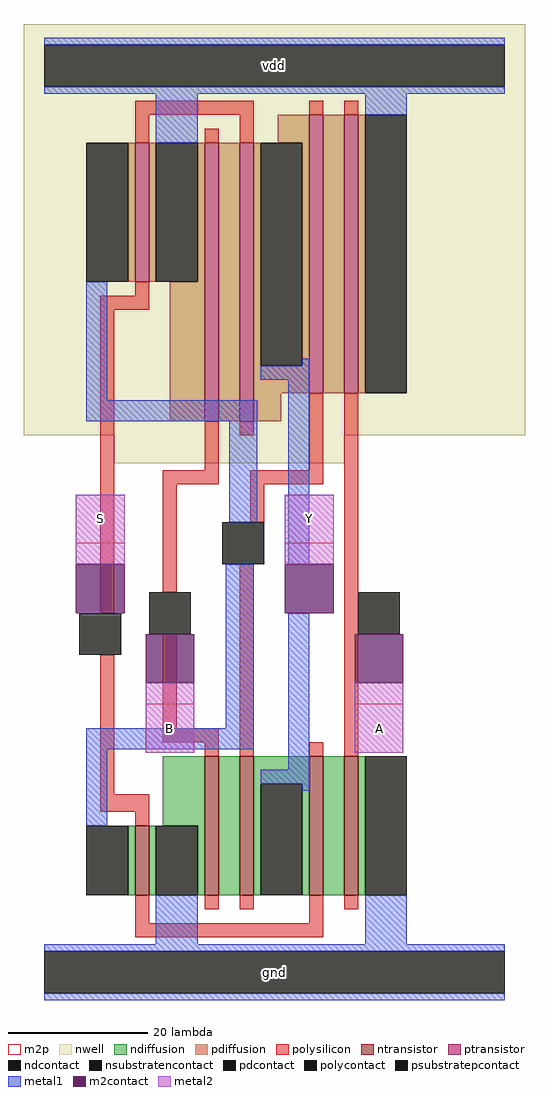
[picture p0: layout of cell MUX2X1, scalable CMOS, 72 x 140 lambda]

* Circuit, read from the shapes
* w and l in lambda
.subckt MUX2X1 A B S Y vdd gnd
M1 gnd S n1 gnd nfet w=10 l=2
M2 n2 B gnd gnd nfet w=20 l=2
M3 Y n1 n2 gnd nfet w=20 l=2
M4 n3 S Y gnd nfet w=20 l=2
M5 gnd A n3 gnd nfet w=20 l=2
M6 vdd S n1 vdd pfet w=20 l=2
M7 n4 B vdd vdd pfet w=40 l=2
M8 Y S n4 vdd pfet w=40 l=2
M9 n5 n1 Y vdd pfet w=40 l=2
M10 vdd A n5 vdd pfet w=40 l=2
.ends

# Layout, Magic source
magic
tech scmos
magscale 1 2
<< nwell >>
rect -12 154 132 272
rect 14 146 80 154
<< ntransistor >>
rect 20 22 24 42
rect 40 22 44 62
rect 50 22 54 62
rect 70 22 74 62
rect 80 22 84 62
<< ptransistor >>
rect 20 198 24 238
rect 40 158 44 238
rect 50 158 54 238
rect 70 166 74 246
rect 80 166 84 246
<< ndiffusion >>
rect 28 42 40 62
rect 18 22 20 42
rect 24 22 26 42
rect 38 22 40 42
rect 44 22 50 62
rect 54 54 70 62
rect 54 22 56 54
rect 68 22 70 54
rect 74 22 80 62
rect 84 22 86 62
<< pdiffusion >>
rect 61 238 70 246
rect 18 198 20 238
rect 24 198 26 238
rect 38 198 40 238
rect 30 158 40 198
rect 44 158 50 238
rect 54 174 56 238
rect 68 174 70 238
rect 54 166 70 174
rect 74 166 80 246
rect 84 166 86 246
rect 54 158 62 166
<< ndcontact >>
rect 6 22 18 42
rect 26 22 38 42
rect 56 22 68 54
rect 86 22 98 62
<< pdcontact >>
rect 6 198 18 238
rect 26 198 38 238
rect 56 174 68 238
rect 86 166 98 246
<< psubstratepcontact >>
rect -6 -6 126 6
<< nsubstratencontact >>
rect -6 254 126 266
<< polysilicon >>
rect 20 246 54 250
rect 70 246 74 250
rect 80 246 84 250
rect 20 238 24 246
rect 40 238 44 242
rect 50 238 54 246
rect 20 194 24 198
rect 10 190 24 194
rect 10 103 14 190
rect 40 144 44 158
rect 50 154 54 158
rect 70 144 74 166
rect 28 140 44 144
rect 53 140 74 144
rect 28 109 32 140
rect 53 129 57 140
rect 10 51 14 91
rect 28 70 32 97
rect 28 66 44 70
rect 40 62 44 66
rect 50 62 54 117
rect 70 62 74 66
rect 80 62 84 166
rect 10 46 24 51
rect 20 42 24 46
rect 20 14 24 22
rect 40 18 44 22
rect 50 18 54 22
rect 70 14 74 22
rect 80 18 84 22
rect 20 10 74 14
<< polycontact >>
rect 45 117 57 129
rect 4 91 16 103
rect 24 97 36 109
rect 84 97 96 109
<< metal1 >>
rect -6 266 126 268
rect -6 252 126 254
rect 26 238 38 252
rect 86 246 98 252
rect 6 164 12 198
rect 68 174 70 176
rect 56 170 70 174
rect 6 158 55 164
rect 47 129 55 158
rect 64 117 70 170
rect 46 70 54 117
rect 6 64 54 70
rect 6 42 12 64
rect 64 58 70 103
rect 56 54 70 58
rect 68 52 70 54
rect 26 8 38 22
rect 86 8 98 22
rect -6 6 126 8
rect -6 -8 126 -6
<< m2contact >>
rect 3 103 17 117
rect 23 83 37 97
rect 63 103 77 117
rect 83 83 97 97
<< metal2 >>
rect 3 117 17 137
rect 63 117 77 137
rect 23 63 37 83
rect 83 63 97 83
<< m2p >>
rect 3 123 17 137
rect 63 123 77 137
rect 23 63 37 77
rect 83 63 97 77
<< labels >>
rlabel metal2 83 63 97 77 0 A
port 0 nsew signal input
rlabel metal2 23 63 37 77 0 B
port 1 nsew signal input
rlabel metal2 3 123 17 137 0 S
port 2 nsew signal input
rlabel metal2 63 123 77 137 0 Y
port 3 nsew signal output
rlabel metal1 -6 252 126 268 0 vdd
port 4 nsew power bidirectional abutment
rlabel metal1 -6 -8 126 8 0 gnd
port 5 nsew ground bidirectional abutment
<< properties >>
string FIXED_BBOX 0 0 120 260
string LEFclass CORE
string LEFsite core
string LEFsymmetry X Y
<< end >>
